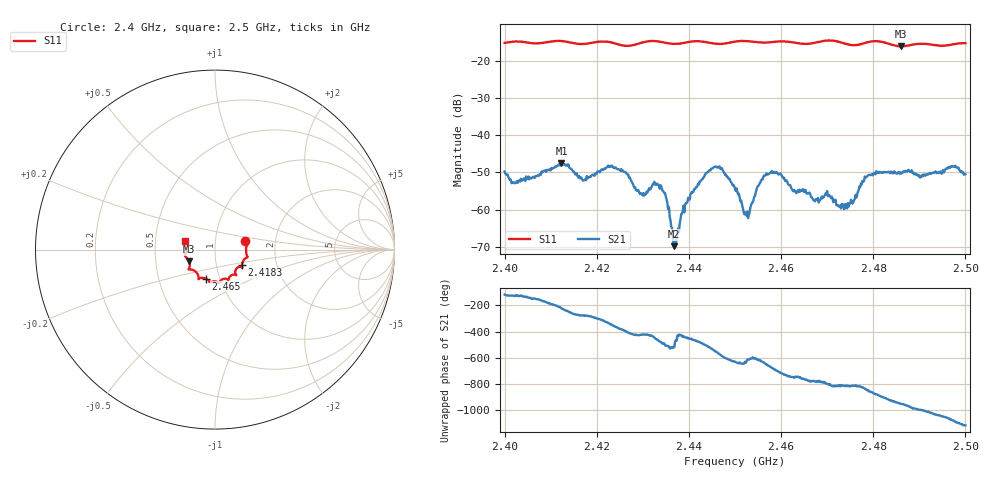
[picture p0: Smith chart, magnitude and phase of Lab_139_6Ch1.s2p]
# Hz S RI R 50
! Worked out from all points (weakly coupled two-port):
!   601 points, 2.4 GHz to 2.5 GHz, reference 50 ohm
!   highest |S21| = -47.55 dB at 2.4123 GHz (marker M1); lowest = -69.8 dB at 2.4367 GHz (marker M2)
!   lowest |S11| = -16.1 dB at 2.486 GHz (marker M3), VSWR 1.37, Z = 37.2 - j4.97 ohm
!   |S11| at or under -10 dB: start of sweep to end of sweep
!   S12 and S22 are empty: the file has one direction only
!   S11 on the Smith chart (normalised r, x): 2.4 GHz: 1.40, +0.13; 2.4183 GHz: 1.33, -0.24; 2.465 GHz: 0.86, -0.29; 2.5 GHz: 0.71, +0.07
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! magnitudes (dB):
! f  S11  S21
! 2.4 GHz  -15.1  -49.8
! 2.402 GHz  -14.8  -52.7
! 2.4123 GHz  -14.6  -47.6
! 2.4167 GHz  -15.4  -51.4
! 2.4183 GHz  -15.2  -51.2
! 2.423 GHz  -14.9  -48.2
! 2.4298 GHz  -15.1  -56.0
! 2.4333 GHz  -14.7  -53.3
! 2.4352 GHz  -15.2  -57.3
! 2.4367 GHz  -15.4  -69.8
! 2.444 GHz  -15.0  -50.0
! 2.4468 GHz  -15.4  -49.1
! 2.45 GHz  -14.8  -54.3
! 2.4525 GHz  -14.6  -61.6
! 2.4573 GHz  -15.0  -50.4
! 2.465 GHz  -15.4  -55.3
! 2.4667 GHz  -15.3  -56.7
! 2.4742 GHz  -15.4  -58.5
! 2.4787 GHz  -15.0  -51.0
! 2.4833 GHz  -15.3  -49.8
! 2.486 GHz  -16.1  -50.0
! 2.5 GHz  -15.2  -50.5
